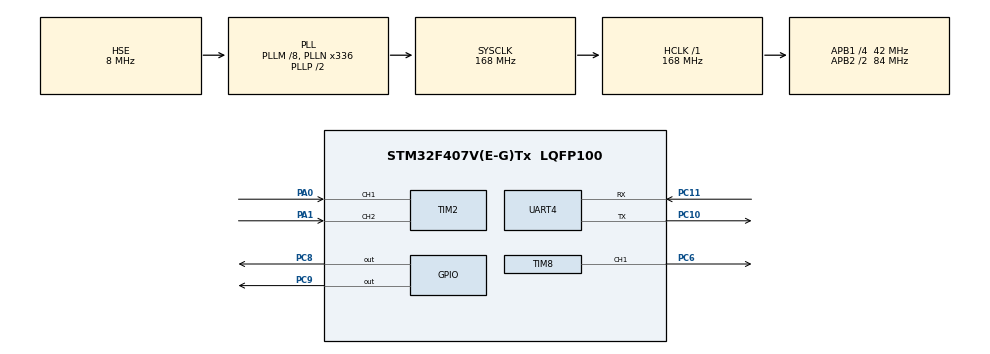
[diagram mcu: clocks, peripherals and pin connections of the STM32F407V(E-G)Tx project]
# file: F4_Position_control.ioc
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Dma.Request0=UART4_RX
Dma.Request1=UART4_TX
Dma.UART4_RX.0.Direction=DMA_PERIPH_TO_MEMORY
Dma.UART4_RX.0.FIFOMode=DMA_FIFOMODE_DISABLE
Dma.UART4_RX.0.Instance=DMA1_Stream2
Dma.UART4_RX.0.MemDataAlignment=DMA_MDATAALIGN_BYTE
Dma.UART4_RX.0.MemInc=DMA_MINC_ENABLE
Dma.UART4_RX.0.Mode=DMA_CIRCULAR
Dma.UART4_RX.0.PeriphDataAlignment=DMA_PDATAALIGN_BYTE
Dma.UART4_RX.0.PeriphInc=DMA_PINC_DISABLE
Dma.UART4_RX.0.Priority=DMA_PRIORITY_LOW
Dma.UART4_TX.1.Direction=DMA_MEMORY_TO_PERIPH
Dma.UART4_TX.1.FIFOMode=DMA_FIFOMODE_DISABLE
Dma.UART4_TX.1.Instance=DMA1_Stream4
Dma.UART4_TX.1.MemDataAlignment=DMA_MDATAALIGN_BYTE
Dma.UART4_TX.1.MemInc=DMA_MINC_ENABLE
Dma.UART4_TX.1.Mode=DMA_NORMAL
Dma.UART4_TX.1.PeriphDataAlignment=DMA_PDATAALIGN_BYTE
Dma.UART4_TX.1.PeriphInc=DMA_PINC_DISABLE
Dma.UART4_TX.1.Priority=DMA_PRIORITY_LOW
Mcu.Family=STM32F4
Mcu.Name=STM32F407V(E-G)Tx
Mcu.Package=LQFP100
NVIC.DMA1_Stream2_IRQn=true\:0\:0\:false\:false\:true\:false\:true\:true
NVIC.DMA1_Stream4_IRQn=true\:0\:0\:false\:false\:true\:false\:true\:true
NVIC.PriorityGroup=NVIC_PRIORITYGROUP_4
NVIC.TIM1_UP_TIM10_IRQn=true\:0\:0\:false\:false\:true\:true\:true\:true
NVIC.UART4_IRQn=true\:0\:0\:false\:false\:true\:true\:true\:true
PA0-WKUP.Signal=S_TIM2_CH1_ETR
PA1.Signal=S_TIM2_CH2
PC10.Mode=Asynchronous
PC10.Signal=UART4_TX
PC11.Mode=Asynchronous
PC11.Signal=UART4_RX
PC6.Signal=S_TIM8_CH1
PC8.Signal=GPIO_Output
PC9.Signal=GPIO_Output
PH0-OSC_IN.Mode=HSE-External-Oscillator
PH0-OSC_IN.Signal=RCC_OSC_IN
PH1-OSC_OUT.Mode=HSE-External-Oscillator
PH1-OSC_OUT.Signal=RCC_OSC_OUT
ProjectManager.HeapSize=0x200
ProjectManager.StackSize=0x400
ProjectManager.TargetToolchain=MDK-ARM V5.32
RCC.48MHZClocksFreq_Value=84000000
RCC.AHBFreq_Value=168000000
RCC.APB1CLKDivider=RCC_HCLK_DIV4
RCC.APB1Freq_Value=42000000
RCC.APB1TimFreq_Value=84000000
RCC.APB2CLKDivider=RCC_HCLK_DIV2
RCC.APB2Freq_Value=84000000
RCC.APB2TimFreq_Value=168000000
RCC.CortexFreq_Value=168000000
RCC.HCLKFreq_Value=168000000
RCC.HSE_VALUE=8000000
RCC.HSI_VALUE=16000000
RCC.LSE_VALUE=32768
RCC.PLLM=8
RCC.PLLN=336
RCC.PLLSourceVirtual=RCC_PLLSOURCE_HSE
RCC.SYSCLKFreq_VALUE=168000000
RCC.SYSCLKSource=RCC_SYSCLKSOURCE_PLLCLK
RCC.VCOOutputFreq_Value=336000000
SH.S_TIM2_CH1_ETR.0=TIM2_CH1,Encoder_Interface
SH.S_TIM2_CH2.0=TIM2_CH2,Encoder_Interface
SH.S_TIM8_CH1.0=TIM8_CH1,PWM Generation1 CH1
TIM1.Period=1679
TIM1.Prescaler=99
TIM2.EncoderMode=TIM_ENCODERMODE_TI12
TIM8.Channel-PWM\ Generation1\ CH1=TIM_CHANNEL_1
UART4.Parity=PARITY_NONE
UART4.VirtualMode=Asynchronous
UART4.WordLength=WORDLENGTH_8B
VP_TIM1_VS_ClockSourceINT.Mode=Internal
board=custom

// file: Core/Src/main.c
/* USER CODE BEGIN Header */
/**
  ******************************************************************************
  * @file           : main.c
  * @brief          : Main program body
  ******************************************************************************
  * @attention
  *
  * Copyright (c) 2022 STMicroelectronics.
  * All rights reserved.
  *
  * This software is licensed under terms that can be found in the LICENSE file
  * in the root directory of this software component.
  * If no LICENSE file comes with this software, it is provided AS-IS.
  *
  ******************************************************************************
  */
/* USER CODE END Header */
#include "main.h"

/* USER CODE BEGIN PD */
#define MODE_X4 1
#define MODE_X1 0
#define MODE_V 0
#define MODE_P 1
/* USER CODE END PD */

TIM_HandleTypeDef htim1;
TIM_HandleTypeDef htim2;
TIM_HandleTypeDef htim8;

UART_HandleTypeDef huart4;
DMA_HandleTypeDef hdma_uart4_rx;
DMA_HandleTypeDef hdma_uart4_tx;

/* USER CODE BEGIN PV */
uint8_t u8_Rx_Data[6],u8_Tx_Data[3] , status = MODE_X4, test, state , mode = MODE_V;
int16_t enc_cnt =0,enc_cnt_pre =0, s_enc_cnt =0,e,pid,rate,s_rate,pulse1,pid1,Kp1=10,Ki1,Kd1;
float Kp =10, Ki=10,Kd=0,Ts=0.005;
uint16_t x = 999;

/* USER CODE END PV */

void SystemClock_Config(void);
static void MX_GPIO_Init(void);
static void MX_DMA_Init(void);
static void MX_TIM2_Init(void);
static void MX_TIM8_Init(void);
static void MX_UART4_Init(void);
static void MX_TIM1_Init(void);
/* USER CODE BEGIN PFP */
void HAL_TIM_PeriodElapsedCallback(TIM_HandleTypeDef *htim);
void HAL_UART_RxCpltCallback(UART_HandleTypeDef *huart);
void Enc_mode(uint8_t mode);
/* USER CODE END PFP */

int main(void)
{

  /* MCU Configuration--------------------------------------------------------*/

  /* Reset of all peripherals, Initializes the Flash interface and the Systick. */
  HAL_Init();

  /* Configure the system clock */
  SystemClock_Config();

  /* Initialize all configured peripherals */
  MX_GPIO_Init();
  MX_DMA_Init();
  MX_TIM2_Init(); // Tim 2 encoder
  MX_TIM8_Init(); // Tim 8 PWM
  MX_UART4_Init();
  MX_TIM1_Init(); // Tim 1 PID loop
  /* USER CODE BEGIN 2 */
	HAL_TIM_PWM_Start(&htim8,TIM_CHANNEL_1);
	HAL_TIM_Encoder_Start(&htim2,TIM_CHANNEL_1|TIM_CHANNEL_2);
	//HAL_TIM_Base_Start_IT(&htim1);
	HAL_UART_Receive_DMA(&huart4,u8_Rx_Data,6);
	//HAL_UART_Transmit_DMA(&huart4,u8_Tx_Data,9);

  /* USER CODE END 2 */

  /* Infinite loop */
  /* USER CODE BEGIN WHILE */
	//Enc_mode(MODE_X1);
	u8_Tx_Data[2] = 0xFF;
	//HAL_UART_Transmit_DMA(&huart4,u8_Tx_Data,402);
  while (1)
  {
    /* USER CODE END WHILE */

  }
}

void SystemClock_Config(void)
{
  RCC_OscInitTypeDef RCC_OscInitStruct = {0};
  RCC_ClkInitTypeDef RCC_ClkInitStruct = {0};

  /** Configure the main internal regulator output voltage
  */
  __HAL_RCC_PWR_CLK_ENABLE();
  __HAL_PWR_VOLTAGESCALING_CONFIG(PWR_REGULATOR_VOLTAGE_SCALE1);

  /** Initializes the RCC Oscillators according to the specified parameters
  * in the RCC_OscInitTypeDef structure.
  */
  RCC_OscInitStruct.OscillatorType = RCC_OSCILLATORTYPE_HSE;
  RCC_OscInitStruct.HSEState = RCC_HSE_ON;
  RCC_OscInitStruct.PLL.PLLState = RCC_PLL_ON;
  RCC_OscInitStruct.PLL.PLLSource = RCC_PLLSOURCE_HSE;
  RCC_OscInitStruct.PLL.PLLM = 8;
  RCC_OscInitStruct.PLL.PLLN = 336;
  RCC_OscInitStruct.PLL.PLLP = RCC_PLLP_DIV2;
  RCC_OscInitStruct.PLL.PLLQ = 4;
  if (HAL_RCC_OscConfig(&RCC_OscInitStruct) != HAL_OK)
  {
    Error_Handler();
  }

  /** Initializes the CPU, AHB and APB buses clocks
  */
  RCC_ClkInitStruct.ClockType = RCC_CLOCKTYPE_HCLK|RCC_CLOCKTYPE_SYSCLK
                              |RCC_CLOCKTYPE_PCLK1|RCC_CLOCKTYPE_PCLK2;
  RCC_ClkInitStruct.SYSCLKSource = RCC_SYSCLKSOURCE_PLLCLK;
  RCC_ClkInitStruct.AHBCLKDivider = RCC_SYSCLK_DIV1;
  RCC_ClkInitStruct.APB1CLKDivider = RCC_HCLK_DIV4;
  RCC_ClkInitStruct.APB2CLKDivider = RCC_HCLK_DIV2;

  if (HAL_RCC_ClockConfig(&RCC_ClkInitStruct, FLASH_LATENCY_5) != HAL_OK)
  {
    Error_Handler();
  }
}

static void MX_TIM1_Init(void)
{

  TIM_ClockConfigTypeDef sClockSourceConfig = {0};
  TIM_MasterConfigTypeDef sMasterConfig = {0};

  htim1.Instance = TIM1;
  htim1.Init.Prescaler = 499;   // 10ms 1680*1000/168Mhz = 10 ms // 499 => 5ms
  htim1.Init.CounterMode = TIM_COUNTERMODE_UP;
  htim1.Init.Period = 1679;
  htim1.Init.ClockDivision = TIM_CLOCKDIVISION_DIV1;
  htim1.Init.RepetitionCounter = 0;
  htim1.Init.AutoReloadPreload = TIM_AUTORELOAD_PRELOAD_DISABLE;
  if (HAL_TIM_Base_Init(&htim1) != HAL_OK)
  {
    Error_Handler();
  }
  sClockSourceConfig.ClockSource = TIM_CLOCKSOURCE_INTERNAL;
  if (HAL_TIM_ConfigClockSource(&htim1, &sClockSourceConfig) != HAL_OK)
  {
    Error_Handler();
  }
  sMasterConfig.MasterOutputTrigger = TIM_TRGO_RESET;
  sMasterConfig.MasterSlaveMode = TIM_MASTERSLAVEMODE_DISABLE;
  if (HAL_TIMEx_MasterConfigSynchronization(&htim1, &sMasterConfig) != HAL_OK)
  {
    Error_Handler();
  }

}

static void MX_TIM2_Init(void)
{

  TIM_Encoder_InitTypeDef sConfig = {0};
  TIM_MasterConfigTypeDef sMasterConfig = {0};

  htim2.Instance = TIM2;
  htim2.Init.Prescaler = 0;
  htim2.Init.CounterMode = TIM_COUNTERMODE_UP;
  htim2.Init.Period = 0xFFFF; // 65535
  htim2.Init.ClockDivision = TIM_CLOCKDIVISION_DIV1;
  htim2.Init.AutoReloadPreload = TIM_AUTORELOAD_PRELOAD_DISABLE;
  sConfig.EncoderMode = TIM_ENCODERMODE_TI12;
  sConfig.IC1Polarity = TIM_ICPOLARITY_RISING;
  sConfig.IC1Selection = TIM_ICSELECTION_DIRECTTI;
  sConfig.IC1Prescaler = TIM_ICPSC_DIV1;
  sConfig.IC1Filter = 0;
  sConfig.IC2Polarity = TIM_ICPOLARITY_RISING;
  sConfig.IC2Selection = TIM_ICSELECTION_DIRECTTI;
  sConfig.IC2Prescaler = TIM_ICPSC_DIV1;
  sConfig.IC2Filter = 0;
  if (HAL_TIM_Encoder_Init(&htim2, &sConfig) != HAL_OK)
  {
    Error_Handler();
  }
  sMasterConfig.MasterOutputTrigger = TIM_TRGO_RESET;
  sMasterConfig.MasterSlaveMode = TIM_MASTERSLAVEMODE_DISABLE;
  if (HAL_TIMEx_MasterConfigSynchronization(&htim2, &sMasterConfig) != HAL_OK)
  {
    Error_Handler();
  }

}

static void MX_TIM8_Init(void)
{

  TIM_MasterConfigTypeDef sMasterConfig = {0};
  TIM_OC_InitTypeDef sConfigOC = {0};
  TIM_BreakDeadTimeConfigTypeDef sBreakDeadTimeConfig = {0};

  htim8.Instance = TIM8;
  htim8.Init.Prescaler = 83; //168Mhz/ 84*x = 20kHZ
  htim8.Init.CounterMode = TIM_COUNTERMODE_UP;
  htim8.Init.Period = x;
  htim8.Init.ClockDivision = TIM_CLOCKDIVISION_DIV1;
  htim8.Init.RepetitionCounter = 0;
  htim8.Init.AutoReloadPreload = TIM_AUTORELOAD_PRELOAD_DISABLE;
  if (HAL_TIM_PWM_Init(&htim8) != HAL_OK)
  {
    Error_Handler();
  }
  sMasterConfig.MasterOutputTrigger = TIM_TRGO_RESET;
  sMasterConfig.MasterSlaveMode = TIM_MASTERSLAVEMODE_DISABLE;
  if (HAL_TIMEx_MasterConfigSynchronization(&htim8, &sMasterConfig) != HAL_OK)
  {
    Error_Handler();
  }
  sConfigOC.OCMode = TIM_OCMODE_PWM1;
  sConfigOC.Pulse = 0;
  sConfigOC.OCPolarity = TIM_OCPOLARITY_HIGH;
  sConfigOC.OCNPolarity = TIM_OCNPOLARITY_HIGH;
  sConfigOC.OCFastMode = TIM_OCFAST_DISABLE;
  sConfigOC.OCIdleState = TIM_OCIDLESTATE_RESET;
  sConfigOC.OCNIdleState = TIM_OCNIDLESTATE_RESET;
  if (HAL_TIM_PWM_ConfigChannel(&htim8, &sConfigOC, TIM_CHANNEL_1) != HAL_OK)
  {
    Error_Handler();
  }
  sBreakDeadTimeConfig.OffStateRunMode = TIM_OSSR_DISABLE;
  sBreakDeadTimeConfig.OffStateIDLEMode = TIM_OSSI_DISABLE;
  sBreakDeadTimeConfig.LockLevel = TIM_LOCKLEVEL_OFF;
  sBreakDeadTimeConfig.DeadTime = 0;
  sBreakDeadTimeConfig.BreakState = TIM_BREAK_DISABLE;
  sBreakDeadTimeConfig.BreakPolarity = TIM_BREAKPOLARITY_HIGH;
  sBreakDeadTimeConfig.AutomaticOutput = TIM_AUTOMATICOUTPUT_DISABLE;
  if (HAL_TIMEx_ConfigBreakDeadTime(&htim8, &sBreakDeadTimeConfig) != HAL_OK)
  {
    Error_Handler();
  }
  HAL_TIM_MspPostInit(&htim8);

}

static void MX_UART4_Init(void)
{

  huart4.Instance = UART4;
  huart4.Init.BaudRate = 115200;
  huart4.Init.WordLength = UART_WORDLENGTH_8B;
  huart4.Init.StopBits = UART_STOPBITS_1;
  huart4.Init.Parity = UART_PARITY_NONE;
  huart4.Init.Mode = UART_MODE_TX_RX;
  huart4.Init.HwFlowCtl = UART_HWCONTROL_NONE;
  huart4.Init.OverSampling = UART_OVERSAMPLING_16;
  if (HAL_UART_Init(&huart4) != HAL_OK)
  {
    Error_Handler();
  }

}

static void MX_DMA_Init(void)
{

  /* DMA controller clock enable */
  __HAL_RCC_DMA1_CLK_ENABLE();

  /* DMA interrupt init */
  /* DMA1_Stream2_IRQn interrupt configuration */
  HAL_NVIC_SetPriority(DMA1_Stream2_IRQn, 0, 0);
  HAL_NVIC_EnableIRQ(DMA1_Stream2_IRQn);
  /* DMA1_Stream4_IRQn interrupt configuration */
  HAL_NVIC_SetPriority(DMA1_Stream4_IRQn, 0, 0);
  HAL_NVIC_EnableIRQ(DMA1_Stream4_IRQn);

}

static void MX_GPIO_Init(void)
{
  GPIO_InitTypeDef GPIO_InitStruct = {0};

  /* GPIO Ports Clock Enable */
  __HAL_RCC_GPIOH_CLK_ENABLE();
  __HAL_RCC_GPIOA_CLK_ENABLE();
  __HAL_RCC_GPIOC_CLK_ENABLE();

  /*Configure GPIO pin Output Level */
  HAL_GPIO_WritePin(GPIOC, GPIO_PIN_8|GPIO_PIN_9, GPIO_PIN_RESET);

  /*Configure GPIO pins : PC8 PC9 */
  GPIO_InitStruct.Pin = GPIO_PIN_8|GPIO_PIN_9;
  GPIO_InitStruct.Mode = GPIO_MODE_OUTPUT_PP;
  GPIO_InitStruct.Pull = GPIO_NOPULL;
  GPIO_InitStruct.Speed = GPIO_SPEED_FREQ_LOW;
  HAL_GPIO_Init(GPIOC, &GPIO_InitStruct);

}

/* USER CODE BEGIN 4 */
// TIM1 interup 0.005s
void HAL_TIM_PeriodElapsedCallback(TIM_HandleTypeDef *htim)
{
	if (htim -> Instance == TIM1){

	//enc_cnt =1000;
	if (mode == MODE_P)
	{
	enc_cnt  = __HAL_TIM_GetCounter(&htim2);
	e = s_enc_cnt - enc_cnt;

	static float u=0,u1 = 0 ,e1 = 0,e2 =0;
	u= u1 + Kp*(e-e1) + Ki*Ts*(e+e1)/2 + Kd*(e-2*e1+e2)/Ts;
	pid = u;
	if (u -pid>0.5) pid++;

	if (pid > x){
	pid = x;
	}
	else if (pid < -x){
	pid =-x;
	}
	e2= e1;
	e1 = e;
	u1=pid;
	if (pid >=0){
		__HAL_TIM_SetCompare(&htim8,TIM_CHANNEL_1, pid);
		HAL_GPIO_WritePin(GPIOC,GPIO_PIN_8,0);
		HAL_GPIO_WritePin(GPIOC,GPIO_PIN_9,1);
	}
	else{
		__HAL_TIM_SetCompare(&htim8,TIM_CHANNEL_1, -pid);
		HAL_GPIO_WritePin(GPIOC,GPIO_PIN_8,1);
		HAL_GPIO_WritePin(GPIOC,GPIO_PIN_9,0);
	}

		u8_Tx_Data[0] = enc_cnt>>8;
		u8_Tx_Data[1] = enc_cnt;
		u8_Tx_Data[2] = 0xFF;

	HAL_UART_Transmit_DMA(&huart4,u8_Tx_Data,3);
	}
		else
	{
		enc_cnt_pre = enc_cnt;
		enc_cnt = __HAL_TIM_GetCounter(&htim2);
		pulse1 = enc_cnt - enc_cnt_pre;
			if ( pulse1>6300)
			{
				pulse1 = pulse1- 65536;
			}
			if (pulse1 < -6300)
			{
				pulse1 = pulse1+ 65536;
			}
			rate = pulse1*3000/374;
		if (s_rate !=0)
		{

			/* Compute PID Output for mortor1*/
			int e1 = s_rate -rate;
			static float u1_1 = 0 , u1 =0,e1_1 = 0,e2_1 =0;
			u1= u1_1 + Kp*(e1-e1_1) + Ki*Ts*(e1_1+e1)/2 + Kd*(e1-2*e1_1+e2_1)/Ts;
			pid1 = u1;
			if (u1 -pid1>0.5) pid1++;

			e2_1 = e1_1;
			e1_1 = e1;
			u1_1=pid1;

			if (pid1 >= 0)
			{
			if (pid1 > 999) pid1 =999;
			__HAL_TIM_SetCompare(&htim8,TIM_CHANNEL_1,pid1);
			HAL_GPIO_WritePin(GPIOC,GPIO_PIN_8,0);
			HAL_GPIO_WritePin(GPIOC,GPIO_PIN_9,1);
			}
			else
			{
			if (pid1 < - 999) pid1 = - 999;
			__HAL_TIM_SetCompare(&htim8,TIM_CHANNEL_1, - pid1);
			HAL_GPIO_WritePin(GPIOC,GPIO_PIN_8,1);
			HAL_GPIO_WritePin(GPIOC,GPIO_PIN_9,0);
			}
		}
		else  /* Stop motor 1*/
		{
			HAL_GPIO_WritePin(GPIOC,GPIO_PIN_8,0);
			HAL_GPIO_WritePin(GPIOC,GPIO_PIN_9,0);
		}
		u8_Tx_Data[0] = rate>>8;
		u8_Tx_Data[1] = rate;
		u8_Tx_Data[2] = 0xFE;

		HAL_UART_Transmit_DMA(&huart4,u8_Tx_Data,3);
	}
	}

}
// UART4 RX_interup
void HAL_UART_RxCpltCallback(UART_HandleTypeDef *huart){
	if (u8_Rx_Data[5] != '#' ){
		//  Error
	}
	else{
	  char* ptr ;

		switch (u8_Rx_Data[0]){
			case('P') :
				// update KP
			  for (int i =0; i < 4 ; i++)
				{
					ptr = (char*)(&Kp);
					*(ptr+i) =  u8_Rx_Data[i+1];
				}
				break ;
			case ('I'):
				// update Ki
			for (int i =0; i < 4 ; i++)
				{
					ptr = (char*)(&Ki);
					*(ptr+i) =  u8_Rx_Data[i+1];
				}
				break ;
			case ('D'):
				// Update Kd
			for (int i =0; i < 4 ; i++)
				{
					ptr = (char*)(&Kd);
					*(ptr+i) =  u8_Rx_Data[i+1];
				}
				HAL_TIM_Base_Start_IT(&htim1);
				break ;
			case ('S'):
				if ( u8_Rx_Data[4] == 'P')
				{
				if (mode != MODE_P){
				Enc_mode(!status);
				mode =  MODE_P;}
				ptr = (char*)(&s_enc_cnt);
				*ptr = u8_Rx_Data[1];
				*(ptr+1) = u8_Rx_Data[2];

				if (u8_Rx_Data[3] == '1')
				{
					Enc_mode(MODE_X1);
				}
				else if (u8_Rx_Data[3] =='4')
				{
					Enc_mode(MODE_X4);
				}
			}
				else if ( u8_Rx_Data[4] == 'V'){
				mode = MODE_V;
				ptr = (char*)(&s_rate);
				*ptr = u8_Rx_Data[1];
				*(ptr+1) = u8_Rx_Data[2];
				}
				break ;
			default:
				//Stop
				HAL_TIM_Base_Stop_IT(&htim1);
				__HAL_TIM_SetCompare(&htim8,TIM_CHANNEL_1, 0);
		}
	}
}
// Change mode encoder
void Enc_mode(uint8_t mode){
	TIM_Encoder_InitTypeDef sConfig = {0};
	if (mode != status){
	if (mode){
	sConfig.EncoderMode = TIM_ENCODERMODE_TI12;
	htim2.Init.Prescaler = 0;
	}
	else{
	sConfig.EncoderMode = TIM_ENCODERMODE_TI1;
	htim2.Init.Prescaler = 2;
	}
	htim2.Instance = TIM2;

  htim2.Init.CounterMode = TIM_COUNTERMODE_UP;
  htim2.Init.Period = 0xFFFFFFFF; // 65535
  htim2.Init.ClockDivision = TIM_CLOCKDIVISION_DIV1;
  htim2.Init.AutoReloadPreload = TIM_AUTORELOAD_PRELOAD_DISABLE;
  sConfig.IC1Polarity = TIM_ICPOLARITY_RISING;
  sConfig.IC1Selection = TIM_ICSELECTION_DIRECTTI;
  sConfig.IC1Prescaler = TIM_ICPSC_DIV1;
  sConfig.IC1Filter = 0;
  sConfig.IC2Polarity = TIM_ICPOLARITY_RISING;
  sConfig.IC2Selection = TIM_ICSELECTION_DIRECTTI;
  sConfig.IC2Prescaler = TIM_ICPSC_DIV1;
  sConfig.IC2Filter = 0;
	HAL_TIM_Encoder_Stop(&htim2,TIM_CHANNEL_1|TIM_CHANNEL_2);
	HAL_TIM_Encoder_DeInit(&htim2);
	HAL_TIM_Encoder_Init(&htim2,&sConfig);
	HAL_TIM_Encoder_Start(&htim2,TIM_CHANNEL_1|TIM_CHANNEL_2);
	status =mode;
	}
}
/* USER CODE END 4 */

void Error_Handler(void)
{
  __disable_irq();
  while (1)
  {
  }
}
